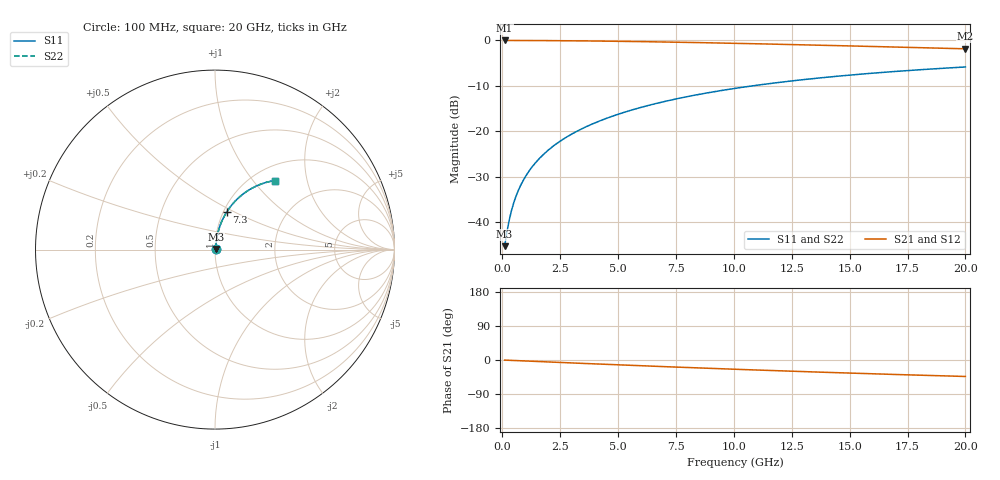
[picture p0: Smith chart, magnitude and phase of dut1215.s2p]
! Touchstone file exported from HFSS 2024.1.0
!  File:  C:/UserFiles/LocalFiles/RDL_TSV_Batchsim/temp_RDL_top_1215_1780239973.aedt
!  Generated:  11:08:52 PM May 31, 2026
!  Design:  RDL_top
!  Project:  temp_RDL_top_1215_1780239973
!  Setup:  Setup1
!  Solution:  Sweep
! Variables:
!  dtsv = 10.80580581um
!  hbump = 3um
!  htsv = 80.38um
!  ldown = 100um
!  lrdl = 524.19um
!  p = 40
!  p1 = 57.26um
!  rhole = 1um
!  t = 450um
!  tdown = 3.915915916um
!  trdl = 3.77um
!  wdown = 15.38538539um
!  wrdl = 11.2um
# GHz S MA R 50.000000
! Terminal data exported
! Port[1] = Box2_T1
! Port[2] = Box2_T2
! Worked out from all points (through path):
!   200 points, 100 MHz to 20 GHz, reference 50 ohm
!   highest |S21| = -0.04 dB at 100 MHz (marker M1); lowest = -1.9 dB at 20 GHz (marker M2)
!   group delay of S21, straight-line fit = 6.04 ps
!   lowest |S11| = -45.2 dB at 100 MHz (marker M3), VSWR 1.01, Z = 50.4 + j0.323 ohm
!   |S11| at or under -10 dB: start of sweep to 10.82 GHz
!   |S22| runs from -45.2 to -5.9 dB; largest |S21 - S12| = 4.3e-15
!   S11 on the Smith chart (normalised r, x): 100 MHz: 1.01, +0.01; 7.3 GHz: 1.04, +0.46; 20 GHz: 1.25, +1.30
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0.1  0.00548 35.7  0.9956 -0.3  0.9956 -0.3  0.00548 35.7
! Gamma 0 0 0 0
! Port Impedance 50 0 50 0
0.2  0.007829 54.7  0.9955 -0.5  0.9955 -0.5  0.007829 54.7
0.3  0.01062 64.0  0.9954 -0.8  0.9954 -0.8  0.01062 64.0
0.4  0.01357 69.3  0.9953 -1.1  0.9953 -1.1  0.01357 69.3
0.5  0.01658 72.5  0.9951 -1.3  0.9951 -1.3  0.01658 72.5
0.6  0.01961 74.7  0.995 -1.6  0.995 -1.6  0.01961 74.7
0.8  0.02571 77.4  0.9946 -2.1  0.9946 -2.1  0.02571 77.4
1.1  0.03491 79.5  0.994 -2.9  0.994 -2.9  0.03491 79.5
1.5  0.04721 80.6  0.9931 -3.9  0.9931 -3.9  0.04721 80.6
1.8  0.05645 80.9  0.9922 -4.7  0.9922 -4.7  0.05645 80.9
2.1  0.06569 80.9  0.9912 -5.4  0.9912 -5.4  0.06569 80.9
2.7  0.08414 80.6  0.9888 -7.0  0.9888 -7.0  0.08415 80.6
3.5  0.1086 79.5  0.9847 -9.0  0.9847 -9.0  0.1086 79.5
4.2  0.1299 78.4  0.9804 -10.8  0.9804 -10.8  0.1299 78.4
5  0.1539 77.0  0.9748 -12.7  0.9748 -12.7  0.1539 77.0
6.8  0.2068 73.6  0.9596 -17.1  0.9596 -17.1  0.2068 73.6
7.3  0.2211 72.6  0.9549 -18.2  0.9549 -18.2  0.2211 72.6
8.6  0.2574 70.0  0.9418 -21.2  0.9418 -21.2  0.2574 70.0
10.1  0.2977 67.0  0.9255 -24.5  0.9255 -24.5  0.2977 67.0
13.4  0.3789 60.6  0.8867 -31.4  0.8867 -31.4  0.3789 60.6
16.7  0.4493 54.6  0.8462 -37.7  0.8462 -37.7  0.4494 54.6
20  0.5091 49.1  0.806 -43.5  0.806 -43.5  0.5091 49.1
